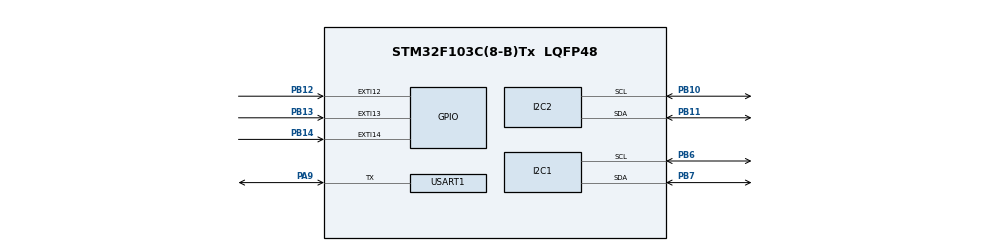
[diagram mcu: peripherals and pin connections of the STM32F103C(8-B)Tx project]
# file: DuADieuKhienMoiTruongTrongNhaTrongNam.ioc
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FREERTOS.Mutexes01=MutexI2C2,Dynamic,NULL,Available;MutexSCD41,Dynamic,NULL,Available;MutexMenu,Dynamic,NULL,Available
FREERTOS.Queues01=QueueEC11,16,rtrecd_queue_item_t,0,Dynamic,NULL,NULL;QueueSCD41,16,scd41_queue_item_t,0,Dynamic,NULL,NULL;QueueDS18B20,16,Ds18b20QueueItem,0,Dynamic,NULL,NULL
FREERTOS.Tasks01=TaskInput,24,500,StartTaskInput,Default,NULL,Dynamic,NULL,NULL;TaskUI,24,500,StartTaskUI,Default,NULL,Dynamic,NULL,NULL;TaskLCD,24,300,StartTaskLCD,Default,NULL,Dynamic,NULL,NULL;TaskDS18B20,23,300,StartTaskDS18B20,Default,NULL,Dynamic,NULL,NULL
FREERTOS.configTOTAL_HEAP_SIZE=8000
Mcu.Family=STM32F1
Mcu.Name=STM32F103C(8-B)Tx
Mcu.Package=LQFP48
NVIC.EXTI15_10_IRQn=true\:5\:0\:false\:false\:true\:true\:true\:true\:true
NVIC.PriorityGroup=NVIC_PRIORITYGROUP_4
NVIC.TIM4_IRQn=true\:15\:0\:false\:false\:true\:false\:false\:true\:true
NVIC.TimeBase=TIM4_IRQn
NVIC.TimeBaseIP=TIM4
NVIC.USART1_IRQn=true\:5\:0\:true\:false\:true\:true\:true\:true\:true
PA13.Mode=Trace_Asynchronous_SW
PA13.Signal=SYS_JTMS-SWDIO
PA14.Mode=Trace_Asynchronous_SW
PA14.Signal=SYS_JTCK-SWCLK
PA9.Mode=Half_duplex(single_wire_mode)
PA9.Signal=USART1_TX
PB10.Mode=I2C
PB10.Signal=I2C2_SCL
PB11.Mode=I2C
PB11.Signal=I2C2_SDA
PB12.GPIO_ModeDefaultEXTI=GPIO_MODE_IT_RISING_FALLING
PB12.GPIO_PuPd=GPIO_PULLUP
PB12.Signal=GPXTI12
PB13.GPIO_ModeDefaultEXTI=GPIO_MODE_IT_RISING_FALLING
PB13.GPIO_PuPd=GPIO_PULLUP
PB13.Signal=GPXTI13
PB14.GPIO_ModeDefaultEXTI=GPIO_MODE_IT_RISING_FALLING
PB14.GPIO_PuPd=GPIO_PULLUP
PB14.Signal=GPXTI14
PB3.Mode=Trace_Asynchronous_SW
PB3.Signal=SYS_JTDO-TRACESWO
PB6.Mode=I2C
PB6.Signal=I2C1_SCL
PB7.Mode=I2C
PB7.Signal=I2C1_SDA
PC14-OSC32_IN.Mode=LSE-External-Oscillator
PC14-OSC32_IN.Signal=RCC_OSC32_IN
PC15-OSC32_OUT.Mode=LSE-External-Oscillator
PC15-OSC32_OUT.Signal=RCC_OSC32_OUT
ProjectManager.HeapSize=0x200
ProjectManager.StackSize=0x400
ProjectManager.TargetToolchain=STM32CubeIDE
RCC.AHBCLKDivider=RCC_SYSCLK_DIV2
RCC.AHBFreq_Value=4000000
RCC.APB1Freq_Value=4000000
RCC.APB1TimFreq_Value=4000000
RCC.APB2Freq_Value=4000000
RCC.APB2TimFreq_Value=4000000
RCC.HCLKFreq_Value=4000000
RCC.RTCClockSelection=RCC_RTCCLKSOURCE_LSE
USART1.VirtualMode=VM_ASYNC
VP_FREERTOS_VS_CMSIS_V2.Mode=CMSIS_V2
VP_RTC_VS_RTC_Activate.Mode=RTC_Enabled
VP_RTC_VS_RTC_Calendar.Mode=RTC_Calendar
VP_SYS_VS_tim4.Mode=TIM4
board=custom

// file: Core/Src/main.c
/* USER CODE BEGIN Header */
/**
  ******************************************************************************
  * @file           : main.c
  * @brief          : Main program body
  ******************************************************************************
  * @attention
  *
  * Copyright (c) 2026 STMicroelectronics.
  * All rights reserved.
  *
  * This software is licensed under terms that can be found in the LICENSE file
  * in the root directory of this software component.
  * If no LICENSE file comes with this software, it is provided AS-IS.
  *
  ******************************************************************************
  */
/* USER CODE END Header */
#include "main.h"
#include "cmsis_os.h"

/* USER CODE BEGIN Includes */
#include "itm.h"
#include "rtrecd.h"
#include "lcd.h"
#include "scd4x_i2c.h"
#include "ds18b20_app.h"
#include "app_menu.h"

#undef Error_Handler
/* USER CODE END Includes */

I2C_HandleTypeDef hi2c1;
I2C_HandleTypeDef hi2c2;

RTC_HandleTypeDef hrtc;

UART_HandleTypeDef huart1;

/* Definitions for TaskInput */
osThreadId_t TaskInputHandle;
const osThreadAttr_t TaskInput_attributes = {
  .name = "TaskInput",
  .stack_size = 500 * 4,
  .priority = (osPriority_t) osPriorityNormal,
};
/* Definitions for TaskUI */
osThreadId_t TaskUIHandle;
const osThreadAttr_t TaskUI_attributes = {
  .name = "TaskUI",
  .stack_size = 500 * 4,
  .priority = (osPriority_t) osPriorityNormal,
};
/* Definitions for TaskLCD */
osThreadId_t TaskLCDHandle;
const osThreadAttr_t TaskLCD_attributes = {
  .name = "TaskLCD",
  .stack_size = 300 * 4,
  .priority = (osPriority_t) osPriorityNormal,
};
/* Definitions for TaskDS18B20 */
osThreadId_t TaskDS18B20Handle;
const osThreadAttr_t TaskDS18B20_attributes = {
  .name = "TaskDS18B20",
  .stack_size = 300 * 4,
  .priority = (osPriority_t) osPriorityBelowNormal7,
};
/* Definitions for QueueEC11 */
osMessageQueueId_t QueueEC11Handle;
const osMessageQueueAttr_t QueueEC11_attributes = {
  .name = "QueueEC11"
};
/* Definitions for QueueSCD41 */
osMessageQueueId_t QueueSCD41Handle;
const osMessageQueueAttr_t QueueSCD41_attributes = {
  .name = "QueueSCD41"
};
/* Definitions for QueueDS18B20 */
osMessageQueueId_t QueueDS18B20Handle;
const osMessageQueueAttr_t QueueDS18B20_attributes = {
  .name = "QueueDS18B20"
};
/* Definitions for MutexI2C2 */
osMutexId_t MutexI2C2Handle;
const osMutexAttr_t MutexI2C2_attributes = {
  .name = "MutexI2C2"
};
/* Definitions for MutexSCD41 */
osMutexId_t MutexSCD41Handle;
const osMutexAttr_t MutexSCD41_attributes = {
  .name = "MutexSCD41"
};
/* Definitions for MutexMenu */
osMutexId_t MutexMenuHandle;
const osMutexAttr_t MutexMenu_attributes = {
  .name = "MutexMenu"
};
/* USER CODE BEGIN PV */

static rtrecd_t g_rtrecd = {
  .pin_a = {GPIOB, GPIO_PIN_12},
  .pin_b = {GPIOB, GPIO_PIN_13},
  .pin_sw = {GPIOB, GPIO_PIN_14}
};

/* Menu context - shared between TaskUI (writer) and TaskLCD (reader/renderer) */
static app_menu_ctx_t g_menu_ctx;

uint32_t ramduinput, ramduui, ramdulcd, ramduds18b20;
uint32_t free_heap __attribute__((unused));
/* USER CODE END PV */

void SystemClock_Config(void);
static void MX_GPIO_Init(void);
static void MX_I2C2_Init(void);
static void MX_I2C1_Init(void);
static void MX_USART1_UART_Init(void);
static void MX_RTC_Init(void);
void StartTaskInput(void *argument);
void StartTaskUI(void *argument);
void StartTaskLCD(void *argument);
void StartTaskDS18B20(void *argument);

/* USER CODE BEGIN PFP */
void HAL_GPIO_EXTI_Callback(uint16_t GPIO_Pin);
/* USER CODE END PFP */

int main(void)
{

  /* USER CODE BEGIN 1 */
	itm_set_library_enabled(ITM_LIB_RTRECD, false);
	itm_set_library_enabled(ITM_LIB_DS18B20, false);
	itm_set_library_enabled(ITM_LIB_GLOBAL, false);
	itm_set_library_enabled(ITM_LIB_SCD41, false);

  /* USER CODE END 1 */

  /* MCU Configuration--------------------------------------------------------*/

  /* Reset of all peripherals, Initializes the Flash interface and the Systick. */
  HAL_Init();

  /* Configure the system clock */
  SystemClock_Config();

  /* Initialize all configured peripherals */
  MX_GPIO_Init();
  MX_I2C2_Init();
  MX_I2C1_Init();
  MX_USART1_UART_Init();
  MX_RTC_Init();

  /* Init scheduler */
  osKernelInitialize();
  /* Create the mutex(es) */
  /* creation of MutexI2C2 */
  MutexI2C2Handle = osMutexNew(&MutexI2C2_attributes);

  /* creation of MutexSCD41 */
  MutexSCD41Handle = osMutexNew(&MutexSCD41_attributes);

  /* creation of MutexMenu */
  MutexMenuHandle = osMutexNew(&MutexMenu_attributes);

  /* USER CODE BEGIN RTOS_MUTEX */
  /* MutexMenu đã được tạo bởi CubeMX ở trên */
  /* USER CODE END RTOS_MUTEX */

  /* Create the queue(s) */
  /* creation of QueueEC11 */
  QueueEC11Handle = osMessageQueueNew (16, sizeof(rtrecd_queue_item_t), &QueueEC11_attributes);

  /* creation of QueueSCD41 */
  QueueSCD41Handle = osMessageQueueNew (16, sizeof(scd41_queue_item_t), &QueueSCD41_attributes);

  /* creation of QueueDS18B20 */
  QueueDS18B20Handle = osMessageQueueNew (16, sizeof(Ds18b20QueueItem), &QueueDS18B20_attributes);

  /* Create the thread(s) */
  /* creation of TaskInput */
  TaskInputHandle = osThreadNew(StartTaskInput, NULL, &TaskInput_attributes);

  /* creation of TaskUI */
  TaskUIHandle = osThreadNew(StartTaskUI, NULL, &TaskUI_attributes);

  /* creation of TaskLCD */
  TaskLCDHandle = osThreadNew(StartTaskLCD, NULL, &TaskLCD_attributes);

  /* creation of TaskDS18B20 */
  TaskDS18B20Handle = osThreadNew(StartTaskDS18B20, NULL, &TaskDS18B20_attributes);

  /* USER CODE BEGIN RTOS_THREADS */
  free_heap = xPortGetFreeHeapSize();

  /* USER CODE END RTOS_THREADS */

  /* Start scheduler */
  osKernelStart();

  /* We should never get here as control is now taken by the scheduler */

  /* Infinite loop */
  while (1)
  {

  }
}

void SystemClock_Config(void)
{
  RCC_OscInitTypeDef RCC_OscInitStruct = {0};
  RCC_ClkInitTypeDef RCC_ClkInitStruct = {0};
  RCC_PeriphCLKInitTypeDef PeriphClkInit = {0};

  /** Initializes the RCC Oscillators according to the specified parameters
  * in the RCC_OscInitTypeDef structure.
  */
  RCC_OscInitStruct.OscillatorType = RCC_OSCILLATORTYPE_HSI|RCC_OSCILLATORTYPE_LSE;
  RCC_OscInitStruct.LSEState = RCC_LSE_ON;
  RCC_OscInitStruct.HSIState = RCC_HSI_ON;
  RCC_OscInitStruct.HSICalibrationValue = RCC_HSICALIBRATION_DEFAULT;
  RCC_OscInitStruct.PLL.PLLState = RCC_PLL_NONE;
  if (HAL_RCC_OscConfig(&RCC_OscInitStruct) != HAL_OK)
  {
    Error_Handler();
  }

  /** Initializes the CPU, AHB and APB buses clocks
  */
  RCC_ClkInitStruct.ClockType = RCC_CLOCKTYPE_HCLK|RCC_CLOCKTYPE_SYSCLK
                              |RCC_CLOCKTYPE_PCLK1|RCC_CLOCKTYPE_PCLK2;
  RCC_ClkInitStruct.SYSCLKSource = RCC_SYSCLKSOURCE_HSI;
  RCC_ClkInitStruct.AHBCLKDivider = RCC_SYSCLK_DIV2;
  RCC_ClkInitStruct.APB1CLKDivider = RCC_HCLK_DIV1;
  RCC_ClkInitStruct.APB2CLKDivider = RCC_HCLK_DIV1;

  if (HAL_RCC_ClockConfig(&RCC_ClkInitStruct, FLASH_LATENCY_0) != HAL_OK)
  {
    Error_Handler();
  }
  PeriphClkInit.PeriphClockSelection = RCC_PERIPHCLK_RTC;
  PeriphClkInit.RTCClockSelection = RCC_RTCCLKSOURCE_LSE;
  if (HAL_RCCEx_PeriphCLKConfig(&PeriphClkInit) != HAL_OK)
  {
    Error_Handler();
  }
}

static void MX_I2C1_Init(void)
{

  hi2c1.Instance = I2C1;
  hi2c1.Init.ClockSpeed = 100000;
  hi2c1.Init.DutyCycle = I2C_DUTYCYCLE_2;
  hi2c1.Init.OwnAddress1 = 0;
  hi2c1.Init.AddressingMode = I2C_ADDRESSINGMODE_7BIT;
  hi2c1.Init.DualAddressMode = I2C_DUALADDRESS_DISABLE;
  hi2c1.Init.OwnAddress2 = 0;
  hi2c1.Init.GeneralCallMode = I2C_GENERALCALL_DISABLE;
  hi2c1.Init.NoStretchMode = I2C_NOSTRETCH_DISABLE;
  if (HAL_I2C_Init(&hi2c1) != HAL_OK)
  {
    Error_Handler();
  }

}

static void MX_I2C2_Init(void)
{

  hi2c2.Instance = I2C2;
  hi2c2.Init.ClockSpeed = 100000;
  hi2c2.Init.DutyCycle = I2C_DUTYCYCLE_2;
  hi2c2.Init.OwnAddress1 = 0;
  hi2c2.Init.AddressingMode = I2C_ADDRESSINGMODE_7BIT;
  hi2c2.Init.DualAddressMode = I2C_DUALADDRESS_DISABLE;
  hi2c2.Init.OwnAddress2 = 0;
  hi2c2.Init.GeneralCallMode = I2C_GENERALCALL_DISABLE;
  hi2c2.Init.NoStretchMode = I2C_NOSTRETCH_DISABLE;
  if (HAL_I2C_Init(&hi2c2) != HAL_OK)
  {
    Error_Handler();
  }

}

static void MX_RTC_Init(void)
{

  RTC_TimeTypeDef sTime = {0};
  RTC_DateTypeDef DateToUpdate = {0};

  /** Initialize RTC Only
  */
  hrtc.Instance = RTC;
  hrtc.Init.AsynchPrediv = RTC_AUTO_1_SECOND;
  hrtc.Init.OutPut = RTC_OUTPUTSOURCE_ALARM;
  if (HAL_RTC_Init(&hrtc) != HAL_OK)
  {
    Error_Handler();
  }

  /* USER CODE BEGIN Check_RTC_BKUP */
  /*
   * Kiểm tra backup register DR1:
   * - Nếu = 0xA5A5 → RTC đã được set từ trước (VBAT còn), bỏ qua SetTime/SetDate.
   * - Nếu khác    → Lần đầu khởi động hoặc VBAT hết, cần set lại thời gian.
   */
  if (HAL_RTCEx_BKUPRead(&hrtc, RTC_BKP_DR1) == 0xA5A5U)
  {
      /*
       * Khôi phục ngày từ BKP DR2/DR3 (lưu bởi app_menu_write_time_to_rtc)
       * để phòng trường hợp debugger/reset xoá BKP ngày của HAL.
       * DR2 [15:9]=year-2000  [8:5]=month  [4:0]=day
       * DR3 = 0x5A5A (magic)
       */
      if (HAL_RTCEx_BKUPRead(&hrtc, RTC_BKP_DR3) == 0x5A5AU)
      {
          uint16_t d = (uint16_t)HAL_RTCEx_BKUPRead(&hrtc, RTC_BKP_DR2);
          RTC_DateTypeDef sDateRestore = {0};
          sDateRestore.Year    = (uint8_t)((d >> 9U) & 0x7FU);
          sDateRestore.Month   = (uint8_t)((d >> 5U) & 0x0FU);
          sDateRestore.Date    = (uint8_t)(d & 0x1FU);
          sDateRestore.WeekDay = RTC_WEEKDAY_MONDAY;
          HAL_RTC_SetDate(&hrtc, &sDateRestore, RTC_FORMAT_BIN);
      }
      return; /* Thời gian RTC vẫn còn, không cần reset */
  }
  /* USER CODE END Check_RTC_BKUP */

  /** Initialize RTC and set the Time and Date
  */
  sTime.Hours = 0x0;
  sTime.Minutes = 0x0;
  sTime.Seconds = 0x0;

  if (HAL_RTC_SetTime(&hrtc, &sTime, RTC_FORMAT_BCD) != HAL_OK)
  {
    Error_Handler();
  }
  DateToUpdate.WeekDay = RTC_WEEKDAY_MONDAY;
  DateToUpdate.Month = RTC_MONTH_JANUARY;
  DateToUpdate.Date = 0x1;
  DateToUpdate.Year = 0x0;

  if (HAL_RTC_SetDate(&hrtc, &DateToUpdate, RTC_FORMAT_BCD) != HAL_OK)
  {
    Error_Handler();
  }
  /* USER CODE BEGIN RTC_Init 2 */
  /* Ghi magic number vào BKP DR1 để lần sau biết RTC đã được set */
  HAL_RTCEx_BKUPWrite(&hrtc, RTC_BKP_DR1, 0xA5A5U);
  /* USER CODE END RTC_Init 2 */

}

static void MX_USART1_UART_Init(void)
{

  huart1.Instance = USART1;
  huart1.Init.BaudRate = 115200;
  huart1.Init.WordLength = UART_WORDLENGTH_8B;
  huart1.Init.StopBits = UART_STOPBITS_1;
  huart1.Init.Parity = UART_PARITY_NONE;
  huart1.Init.Mode = UART_MODE_TX_RX;
  huart1.Init.HwFlowCtl = UART_HWCONTROL_NONE;
  huart1.Init.OverSampling = UART_OVERSAMPLING_16;
  if (HAL_HalfDuplex_Init(&huart1) != HAL_OK)
  {
    Error_Handler();
  }

}

static void MX_GPIO_Init(void)
{
  GPIO_InitTypeDef GPIO_InitStruct = {0};

  /* GPIO Ports Clock Enable */
  __HAL_RCC_GPIOC_CLK_ENABLE();
  __HAL_RCC_GPIOB_CLK_ENABLE();
  __HAL_RCC_GPIOA_CLK_ENABLE();

  /*Configure GPIO pins : PB12 PB13 PB14 */
  GPIO_InitStruct.Pin = GPIO_PIN_12|GPIO_PIN_13|GPIO_PIN_14;
  GPIO_InitStruct.Mode = GPIO_MODE_IT_RISING_FALLING;
  GPIO_InitStruct.Pull = GPIO_PULLUP;
  HAL_GPIO_Init(GPIOB, &GPIO_InitStruct);

  /* EXTI interrupt init*/
  HAL_NVIC_SetPriority(EXTI15_10_IRQn, 5, 0);
  HAL_NVIC_EnableIRQ(EXTI15_10_IRQn);

}

/* USER CODE BEGIN 4 */
void HAL_GPIO_EXTI_Callback(uint16_t GPIO_Pin)
{
  if (GPIO_Pin == GPIO_PIN_12)
  {
    rtrecd_isr_a(&g_rtrecd);
  }
  else if (GPIO_Pin == GPIO_PIN_13)
  {
    rtrecd_isr_b(&g_rtrecd);
  }
  else if (GPIO_Pin == GPIO_PIN_14)
  {
    rtrecd_isr_sw(&g_rtrecd);
  }
}

void HAL_UART_RxCpltCallback(UART_HandleTypeDef *huart)
{
  owReadHandler(huart);
}

void HAL_UART_ErrorCallback(UART_HandleTypeDef *huart)
{
  owErrorHandler(huart);
}
/* USER CODE END 4 */

/* Flag báo trạng thái lỗi SCD41 — được set/clear từ TaskInput (event callback),
 * đọc từ TaskUI. Trên Cortex-M, đọc/ghi byte là atomic → không cần mutex. */
static volatile bool g_scd41_fault_active = false;

/* Callback bọc ngoài: gọi ITM handler mặc định + cập nhật g_scd41_fault_active */
static void prv_scd41_event_handler(const scd41_config_t* config,
                                    const scd41_context_t* context,
                                    scd4x_runtime_event_t event,
                                    void* user_context)
{
    scd4x_runtime_default_itm_event_handler(config, context, event, user_context);
    if (event == SCD4X_RUNTIME_EVENT_FAULT) {
        g_scd41_fault_active = true;
    } else if (event == SCD4X_RUNTIME_EVENT_RECOVERED) {
        g_scd41_fault_active = false;
    }
}

void StartTaskInput(void *argument)
{
  /* USER CODE BEGIN 5 */
	if (rtrecd_init(&g_rtrecd) == false)
	{
		Error_Handler();
	}

	scd41_config_t scd41_config = {0};
	scd41_context_t scd41_context = {0};

	scd41_config.i2c_handle = &hi2c1;
	scd41_config.i2c_mutex = MutexSCD41Handle;

	scd4x_runtime_init(&scd41_config, &scd41_context);
	scd4x_runtime_start_periodic_measurement(&scd41_config, &scd41_context);

	uint32_t scd41_last_tick = osKernelGetTickCount();

  /* Infinite loop */
  for(;;)
  {
	  rtrecd_service(&g_rtrecd, QueueEC11Handle);

	  if((osKernelGetTickCount() - scd41_last_tick) >= 500U)
	  {
		  scd41_last_tick = osKernelGetTickCount();
	  Scd41Api_Service(&scd41_config,
					   &scd41_context,
					   QueueSCD41Handle,
					   prv_scd41_event_handler);

	  }
	  ramduinput = uxTaskGetStackHighWaterMark(NULL);
	  osDelay(2);

  }
  /* USER CODE END 5 */
}

void StartTaskUI(void *argument)
{
  /* USER CODE BEGIN StartTaskUI */
	rtrecd_queue_item_t ev;
	scd41_queue_item_t scd41_data;

	bool got_event;

	/* Đọc RTC mỗi 1 giây */
	uint32_t rtc_last_tick = osKernelGetTickCount();

  /* Infinite loop */
  for(;;)
  {
	  got_event = false;

	  /* EC11 encoder -> menu navigation */
	  if (osMessageQueueGet(QueueEC11Handle, &ev, NULL, 0U) == osOK)
	  {
		  itm_print("EC11: ");
		  itm_print(rtrecd_queue_item_to_str(ev));
		  itm_print("\r\n");

		  osMutexAcquire(MutexMenuHandle, osWaitForever);
		  app_menu_handle_event(&g_menu_ctx, ev);

		  /* Nếu vừa lưu thời gian -> ghi ngay vào RTC */
		  if (g_menu_ctx.time_rtc_dirty)
		  {
			  app_menu_write_time_to_rtc(&g_menu_ctx, &hrtc);
		  }
		  osMutexRelease(MutexMenuHandle);

		  got_event = true;
	  }

	  /* SCD41 data -> menu sensor update + ITM log */
	  if (osMessageQueueGet(QueueSCD41Handle, &scd41_data, NULL, 0U) == osOK)
	  {
		  scd41_print_scd41_measurement(scd41_data.co2,
				  scd41_data.temperature_m_deg_c,
				  scd41_data.humidity_m_percent_rh);

		  osMutexAcquire(MutexMenuHandle, osWaitForever);
		  app_menu_update_scd41(&g_menu_ctx, &scd41_data);
		  /* Khi nhận được data hợp lệ, xóa fault trên LCD */
		  app_menu_set_scd41_fault(&g_menu_ctx, false);
		  osMutexRelease(MutexMenuHandle);

		  got_event = true;
	  }

	  /* Cập nhật trạng thái lỗi SCD41 lên LCD (set bởi prv_scd41_event_handler) */
	  {
		  bool fault = g_scd41_fault_active;
		  osMutexAcquire(MutexMenuHandle, osWaitForever);
		  app_menu_set_scd41_fault(&g_menu_ctx, fault);
		  osMutexRelease(MutexMenuHandle);
	  }

	  /* Đọc RTC mỗi 1 giây -> cập nhật time_cfg và dirty LCD */
	  if ((osKernelGetTickCount() - rtc_last_tick) >= 1000U)
	  {
		  rtc_last_tick = osKernelGetTickCount();
		  osMutexAcquire(MutexMenuHandle, osWaitForever);
		  app_menu_update_time_from_rtc(&g_menu_ctx, &hrtc);
		  osMutexRelease(MutexMenuHandle);
		  got_event = true;
	  }

	  if(got_event)
	  {
		  continue;
	  }
	  osDelay(10);

	  ramduui = uxTaskGetStackHighWaterMark(NULL);

  }
  /* USER CODE END StartTaskUI */
}

void StartTaskLCD(void *argument)
{
  /* USER CODE BEGIN StartTaskLCD */
	lcd_i2c_config_t lcd_cfg = {
	    .hi2c = &hi2c2,
	    .i2c_addr = 0x27 << 1,
	    .mutex = MutexI2C2Handle,
	};

    itm_print("[LCD] init...\r\n");
    lcd_init(&lcd_cfg);
    itm_print("[LCD] init OK\r\n");

    /* Khởi tạo menu sau khi LCD đã sẵn sàng */
    osMutexAcquire(MutexMenuHandle, osWaitForever);
    app_menu_init(&g_menu_ctx);
    osMutexRelease(MutexMenuHandle);

  /* Infinite loop */
  for(;;)
  {
	  osMutexAcquire(MutexMenuHandle, osWaitForever);
	  app_menu_render(&g_menu_ctx);
	  osMutexRelease(MutexMenuHandle);

	  ramdulcd = uxTaskGetStackHighWaterMark(NULL);
	  osDelay(50);
  }
  /* USER CODE END StartTaskLCD */
}

void StartTaskDS18B20(void *argument)
{
  /* USER CODE BEGIN StartTaskDS18B20 */
	  OneWire_Config  owCfg1;
	  OneWire_Context owCtx1;

	  owCfg1.huart      = &huart1;
	  owCfg1.maxDevices = 4U;   /* Tạm thời; vòng lặp đầu sẽ đồng bộ từ ds18b20_target_count */

	  Ds18b20Api_Init(&owCfg1, &owCtx1);
	  Ds18b20Api_BindMenuCtx(&owCfg1, &g_menu_ctx);

  /* Infinite loop */
  for(;;)
  {
	  /* ---- Đồng bộ số cảm biến từ settings (bao gồm sau khi load Flash) ---- */
	  if (g_menu_ctx.ds18b20_target_count > 0U && !g_menu_ctx.relearn_req)
	  {
		  owCfg1.maxDevices = g_menu_ctx.ds18b20_target_count;
	  }

	  /* ---- Xử lý yêu cầu học lại vị trí từ menu ---- */
	  if (g_menu_ctx.relearn_req)
	  {
		  /* Cập nhật số cảm biến theo cài đặt người dùng */
		  uint8_t target = g_menu_ctx.ds18b20_target_count;
		  if (target < 1U) target = 1U;
		  if (target > (uint8_t)MENU_DS18B20_MAX) target = (uint8_t)MENU_DS18B20_MAX;
		  owCfg1.maxDevices = target;

		  Ds18b20Api_RequestRelearn(&owCfg1, &owCtx1);

		  g_menu_ctx.relearn_req         = 0U;
		  g_menu_ctx.relearn_retry_count = 0U;
		  g_menu_ctx.relearn_phase       = DS18B20_LEARN_SEARCHING;
	  }

	  /* ---- Service bình thường ---- */
	  HAL_StatusTypeDef res = Ds18b20Api_Service(&owCfg1, &owCtx1,
			  	  	  QueueDS18B20Handle,
                      Ds18b20Api_GetFaultCb());

	  /* ---- Đọc kết quả từ queue và cập nhật menu ---- */
	  {
		  Ds18b20QueueItem ds18b20_data;
		  while (osMessageQueueGet(QueueDS18B20Handle, &ds18b20_data, NULL, 0U) == osOK)
		  {
			  Ds18b20Api_PrintItem(&ds18b20_data);
			  osMutexAcquire(MutexMenuHandle, osWaitForever);
			  app_menu_update_ds18b20(&g_menu_ctx, &ds18b20_data);
			  osMutexRelease(MutexMenuHandle);
		  }
	  }

	  /* ---- Cập nhật kết quả học vị trí ---- */
	  if (g_menu_ctx.relearn_phase == DS18B20_LEARN_SEARCHING)
	  {
		  if (res == HAL_OK)
		  {
			  /* Service OK = EnsureReady thành công + đọc nhiệt độ OK */
			  g_menu_ctx.relearn_phase = DS18B20_LEARN_DONE;
		  }
		  else
		  {
			  g_menu_ctx.relearn_retry_count++;
			  /* Timeout ~60s: 12 lần × 5s */
			  if (g_menu_ctx.relearn_retry_count > 12U)
			  {
				  g_menu_ctx.relearn_phase = DS18B20_LEARN_ERROR;
			  }
		  }
	  }

	  ramduds18b20 = uxTaskGetStackHighWaterMark(NULL);
      osDelay(2000);
  }
  /* USER CODE END StartTaskDS18B20 */
}

void HAL_TIM_PeriodElapsedCallback(TIM_HandleTypeDef *htim)
{
  if (htim->Instance == TIM4)
  {
    HAL_IncTick();
  }
}

void Error_Handler(void)
{
  __disable_irq();
  while (1)
  {
  }
}
